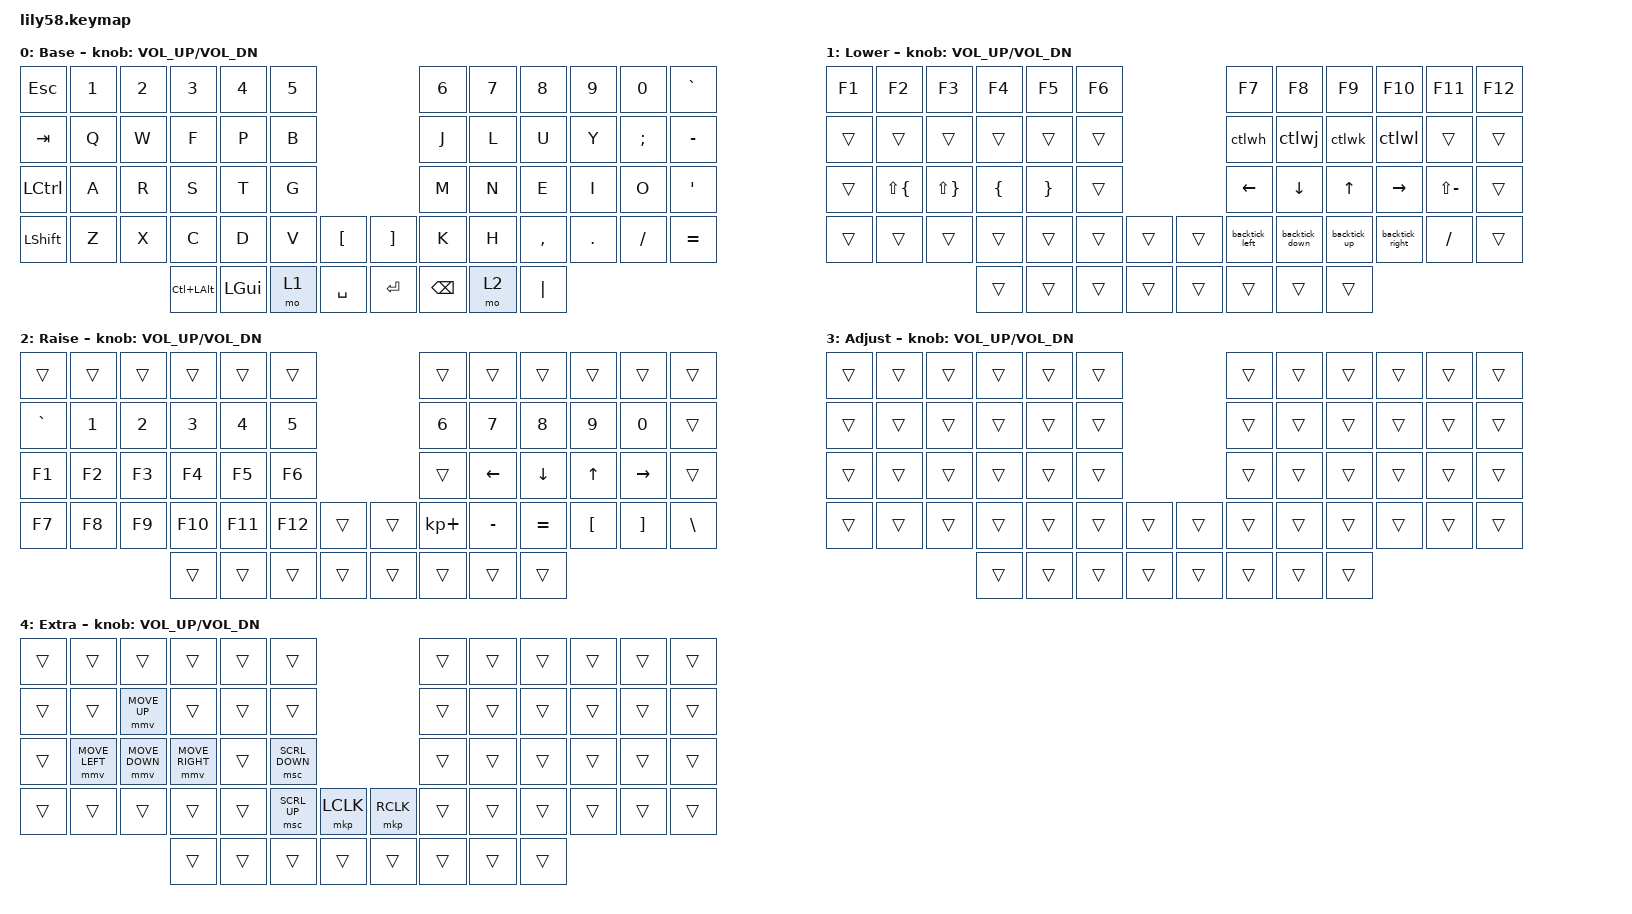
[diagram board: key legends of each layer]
/*
 * Copyright (c) 2020 The ZMK Contributors
 *
 * SPDX-License-Identifier: MIT
 */

#include <behaviors.dtsi>
#include <dt-bindings/zmk/keys.h>
#include <dt-bindings/zmk/pointing.h>

#define default_layer 0
#define lower_layer 1
#define raise_layer 2
#define adjust_layer 3
#define extra_layer 4

/ {
    macros {
        ctlwh: new_macro {
            compatible = "zmk,behavior-macro";
            #binding-cells = <0>;
            bindings = <&kp LC(W) &kp H>;
            label = "CTRLW_H";
        };

        ctlwj: ctlwj {
            compatible = "zmk,behavior-macro";
            #binding-cells = <0>;
            bindings = <&kp LC(W) &kp J>;
            label = "CTLWJ";
        };

        ctlwk: ctlwk {
            compatible = "zmk,behavior-macro";
            #binding-cells = <0>;
            bindings = <&kp LC(W) &kp K>;
            label = "CTLWK";
        };

        ctlwl: ctlwl {
            compatible = "zmk,behavior-macro";
            #binding-cells = <0>;
            bindings = <&kp LC(W) &kp L>;
            label = "CTLWL";
        };

        backtick_left: backtick_left {
            compatible = "zmk,behavior-macro";
            #binding-cells = <0>;
            bindings = <&kp GRAVE &kp LEFT>;
            label = "BACKTICK_LEFT";
        };

        backtick_down: backtick_down {
            compatible = "zmk,behavior-macro";
            #binding-cells = <0>;
            bindings = <&kp GRAVE &kp DOWN>;
            label = "BACKTICK_DOWN";
        };

        backtick_up: backtick_up {
            compatible = "zmk,behavior-macro";
            #binding-cells = <0>;
            bindings = <&kp GRAVE &kp UP_ARROW>;
            label = "BACKTICK_UP";
        };

        backtick_right: backtick_right {
            compatible = "zmk,behavior-macro";
            #binding-cells = <0>;
            bindings = <&kp GRAVE &kp RIGHT>;
            label = "BACKTICK_RIGHT";
        };
    };

    keymap {
        compatible = "zmk,keymap";

        default_layer {
            display-name = "Base";

            // ------------------------------------------------------------------------------------------------------------
            // |  ESC  |  1  |  2  |  3   |  4   |  5   |                   |  6   |  7    |  8    |  9   |   0   |   `   |
            // |  TAB  |  Q  |  W  |  E   |  R   |  T   |                   |  Y   |  U    |  I    |  O   |   P   |   -   |
            // |  CTRL |  A  |  S  |  D   |  F   |  G   |                   |  H   |  J    |  K    |  L   |   ;   |   '   |
            // | SHIFT |  Z  |  X  |  C   |  V   |  B   |   "["  |  |  "]"  |  N   |  M    |  ,    |  .   |   /   | SHIFT |
            //                     | ALT  | GUI  | LOWER|  SPACE |  | ENTER | RAISE| BSPC  | GUI   |

            bindings = <
&kp ESC    &kp N1  &kp N2  &kp N3        &kp N4    &kp N5                         &kp N6         &kp N7  &kp N8     &kp N9      &kp N0         &kp GRAVE
&kp TAB    &kp Q   &kp W   &kp F         &kp P     &kp B                          &kp J          &kp L   &kp U      &kp Y       &kp SEMICOLON  &kp MINUS
&kp LCTRL  &kp A   &kp R   &kp S         &kp T     &kp G                          &kp M          &kp N   &kp E      &kp I       &kp O          &kp SQT
&kp LSHFT  &kp Z   &kp X   &kp C         &kp D     &kp V   &kp LBKT     &kp RBKT  &kp K          &kp H   &kp COMMA  &kp PERIOD  &kp SLASH      &kp EQUAL
                           &kp LC(LALT)  &kp LGUI  &mo 1   &kp SPACE    &kp RET   &kp BACKSPACE  &mo 2   &kp PIPE
            >;

            sensor-bindings = <&inc_dec_kp C_VOL_UP C_VOL_DN>;
        };

        lower_layer {
            display-name = "Lower";

            // ------------------------------------------------------------------------------------------------------------
            // | BTCLR | BT1 | BT2 |  BT3 |  BT4 |  BT5 |                   |      |       |       |      |       |       |
            // |  F1   |  F2 |  F3 |  F4  |  F5  |  F6  |                   |  F7  |  F8   |  F9   |  F10 |  F11  |  F12  |
            // |   `   |  !  |  @  |  #   |  $   |  %   |                   |  ^   |  &    |  *    |  (   |   )   |   ~   |
            // |       |     |     |      |      |      |        |  |       |      |  _    |  +    |  {   |   }   |  "|"  |
            //                     |      |      |      |        |  |       |      |       |       |

            bindings = <
&kp F1  &kp F2              &kp F3               &kp F4          &kp F5           &kp F6                    &kp F7          &kp F8          &kp F9        &kp F10          &kp F11        &kp F12
&trans  &trans              &trans               &trans          &trans           &trans                    &ctlwh          &ctlwj          &ctlwk        &ctlwl           &trans         &trans
&trans  &kp LS(LEFT_BRACE)  &kp LS(RIGHT_BRACE)  &kp LEFT_BRACE  &kp RIGHT_BRACE  &trans                    &kp LEFT        &kp DOWN_ARROW  &kp UP_ARROW  &kp RIGHT        &kp LS(MINUS)  &trans
&trans  &trans              &trans               &trans          &trans           &trans  &trans    &trans  &backtick_left  &backtick_down  &backtick_up  &backtick_right  &kp SLASH      &trans
                                                 &trans          &trans           &trans  &trans    &trans  &trans          &trans          &trans
            >;

            sensor-bindings = <&inc_dec_kp C_VOL_UP C_VOL_DN>;
        };

        raise_layer {
            display-name = "Raise";

            // ------------------------------------------------------------------------------------------------------------
            // |       |     |     |      |      |      |                   |      |       |       |      |       |       |
            // |   `   |  1  |  2  |  3   |  4   |  5   |                   |  6   |   7   |   8   |  9   |   0   |       |
            // |   F1  |  F2 |  F3 |  F4  |  F5  |  F6  |                   |      |   <-  |   v   |  ^   |  ->   |       |
            // |   F7  |  F8 |  F9 |  F10 |  F11 |  F12 |        |  |       |  +   |   -   |   =   |  [   |   ]   |   \   |
            //                     |      |      |      |        |  |       |      |       |       |

            bindings = <
&trans     &trans  &trans  &trans   &trans   &trans                     &trans       &trans     &trans     &trans    &trans     &trans
&kp GRAVE  &kp N1  &kp N2  &kp N3   &kp N4   &kp N5                     &kp N6       &kp N7     &kp N8     &kp N9    &kp N0     &trans
&kp F1     &kp F2  &kp F3  &kp F4   &kp F5   &kp F6                     &trans       &kp LEFT   &kp DOWN   &kp UP    &kp RIGHT  &trans
&kp F7     &kp F8  &kp F9  &kp F10  &kp F11  &kp F12  &trans    &trans  &kp KP_PLUS  &kp MINUS  &kp EQUAL  &kp LBKT  &kp RBKT   &kp BSLH
                           &trans   &trans   &trans   &trans    &trans  &trans       &trans     &trans
            >;

            sensor-bindings = <&inc_dec_kp C_VOL_UP C_VOL_DN>;
        };

        adjust_layer {
            display-name = "Adjust";

            // ------------------------------------------------------------------------------------------------------------
            // |       |     |     |      |      |      |                   |      |       |       |      |       |       |
            // |   `   |  1  |  2  |  3   |  4   |  5   |                   |  6   |   7   |   8   |  9   |   0   |       |
            // |   F1  |  F2 |  F3 |  F4  |  F5  |  F6  |                   |      |   <-  |   v   |  ^   |  ->   |       |
            // |   F7  |  F8 |  F9 |  F10 |  F11 |  F12 |        |  |       |  +   |   -   |   =   |  [   |   ]   |   \   |
            //                     |      |      |      |        |  |       |      |       |       |

            bindings = <
&trans  &trans  &trans  &trans  &trans  &trans                    &trans  &trans  &trans  &trans  &trans  &trans
&trans  &trans  &trans  &trans  &trans  &trans                    &trans  &trans  &trans  &trans  &trans  &trans
&trans  &trans  &trans  &trans  &trans  &trans                    &trans  &trans  &trans  &trans  &trans  &trans
&trans  &trans  &trans  &trans  &trans  &trans  &trans    &trans  &trans  &trans  &trans  &trans  &trans  &trans
                        &trans  &trans  &trans  &trans    &trans  &trans  &trans  &trans
            >;

            sensor-bindings = <&inc_dec_kp C_VOL_UP C_VOL_DN>;
        };

        extra_layer {
            display-name = "Extra";

            // ------------------------------------------------------------------------------------------------------------
            // |       |     |     |      |      |      |                   |      |       |       |      |       |       |
            // |   `   |  1  |  2  |  3   |  4   |  5   |                   |  6   |   7   |   8   |  9   |   0   |       |
            // |   F1  |  F2 |  F3 |  F4  |  F5  |  F6  |                   |      |   <-  |   v   |  ^   |  ->   |       |
            // |   F7  |  F8 |  F9 |  F10 |  F11 |  F12 |        |  |       |  +   |   -   |   =   |  [   |   ]   |   \   |
            //                     |      |      |      |        |  |       |      |       |       |

            bindings = <
&trans  &trans          &trans          &trans           &trans  &trans                                  &trans  &trans  &trans  &trans  &trans  &trans
&trans  &trans          &mmv MOVE_UP    &trans           &trans  &trans                                  &trans  &trans  &trans  &trans  &trans  &trans
&trans  &mmv MOVE_LEFT  &mmv MOVE_DOWN  &mmv MOVE_RIGHT  &trans  &msc SCRL_DOWN                          &trans  &trans  &trans  &trans  &trans  &trans
&trans  &trans          &trans          &trans           &trans  &msc SCRL_UP    &mkp LCLK    &mkp RCLK  &trans  &trans  &trans  &trans  &trans  &trans
                                        &trans           &trans  &trans          &trans       &trans     &trans  &trans  &trans
            >;

            sensor-bindings = <&inc_dec_kp C_VOL_UP C_VOL_DN>;
        };
    };
};
